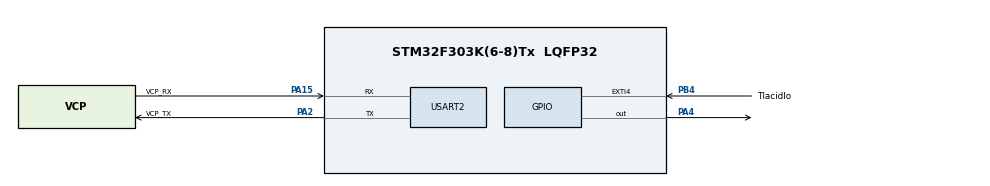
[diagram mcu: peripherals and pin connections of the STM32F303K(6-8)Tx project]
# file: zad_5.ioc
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Mcu.Family=STM32F3
Mcu.Name=STM32F303K(6-8)Tx
Mcu.Package=LQFP32
NVIC.EXTI4_IRQn=true\:0\:0\:false\:false\:true\:true\:true
NVIC.PriorityGroup=NVIC_PRIORITYGROUP_4
PA13.GPIO_Label=SWDIO
PA13.Mode=Serial_Wire
PA13.Signal=SYS_JTMS-SWDIO
PA14.GPIO_Label=SWCLK
PA14.Mode=Serial_Wire
PA14.Signal=SYS_JTCK-SWCLK
PA15.GPIO_Label=VCP_RX
PA15.Mode=Asynchronous
PA15.Signal=USART2_RX
PA2.GPIO_Label=VCP_TX
PA2.Mode=Asynchronous
PA2.Signal=USART2_TX
PA4.Signal=GPIO_Output
PB4.GPIO_Label=Tlacidlo
PB4.GPIO_ModeDefaultEXTI=GPIO_MODE_IT_RISING_FALLING
PB4.GPIO_PuPd=GPIO_PULLUP
PB4.Signal=GPXTI4
PF0\ /\ OSC_IN.GPIO_Label=MCO
PF0\ /\ OSC_IN.Mode=HSE-External-Clock-Source
PF0\ /\ OSC_IN.Signal=RCC_OSC_IN
ProjectManager.HeapSize=0x200
ProjectManager.StackSize=0x400
ProjectManager.TargetToolchain=STM32CubeIDE
RCC.AHBFreq_Value=8000000
RCC.APB1Freq_Value=8000000
RCC.APB2Freq_Value=8000000
RCC.CortexFreq_Value=8000000
RCC.HSE_VALUE=8000000
RCC.HSI_VALUE=8000000
RCC.SYSCLKFreq_VALUE=8000000
USART2.VirtualMode-Asynchronous=VM_ASYNC
board=NUCLEO-F303K8

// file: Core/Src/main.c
/* USER CODE BEGIN Header */
/**
  ******************************************************************************
  * @file           : main.c
  * @brief          : Main program body
  ******************************************************************************
  * @attention
  *
  * <h2><center>&copy; Copyright (c) 2021 STMicroelectronics.
  * All rights reserved.</center></h2>
  *
  * This software component is licensed by ST under BSD 3-Clause license,
  * the "License"; You may not use this file except in compliance with the
  * License. You may obtain a copy of the License at:
  *                        opensource.org/licenses/BSD-3-Clause
  *
  ******************************************************************************
  */
/* USER CODE END Header */
#include "main.h"
#include "usart.h"
#include "gpio.h"

void SystemClock_Config(void);

/* USER CODE BEGIN 0 */
uint8_t check_button_state(GPIO_TypeDef* PORT, uint8_t PIN, uint8_t edge, uint8_t samples_window, uint8_t samples_required);

uint8_t switch_state = 0;
/* USER CODE END 0 */

int main(void)
{

  /* MCU Configuration--------------------------------------------------------*/

  /* Reset of all peripherals, Initializes the Flash interface and the Systick. */

  LL_APB2_GRP1_EnableClock(LL_APB2_GRP1_PERIPH_SYSCFG);
  LL_APB1_GRP1_EnableClock(LL_APB1_GRP1_PERIPH_PWR);

  NVIC_SetPriorityGrouping(NVIC_PRIORITYGROUP_4);

  /* System interrupt init*/

  /* Configure the system clock */
  SystemClock_Config();

  /* Initialize all configured peripherals */
  MX_GPIO_Init();
  MX_USART2_UART_Init();

  /* Infinite loop */
  /* USER CODE BEGIN WHILE */
  while (1)
  {
	  if(switch_state)
	  	  {
		  	  LL_GPIO_TogglePin(GPIO_PORT_LED,GPIO_BSRR_BS_4);
		  	  //GPIOA->BSRR |= GPIO_BSRR_BS_4;
	  		  //for(uint16_t i=0; i<0xFF00; i++){}
	  		  //GPIOA->BRR |= GPIO_BRR_BR_4;
	  		  //for(uint16_t i=0; i<0xFF00; i++){}
	  	  }
	  	  else
	  	  {
	  		LL_GPIO_ResetOutputPin(GPIO_PORT_LED,GPIO_BRR_BR_4);
	  		  //GPIOA->BRR |= GPIO_BRR_BR_4;
	  	  }
  }
    /* USER CODE END WHILE */

}

void SystemClock_Config(void)
{
  LL_FLASH_SetLatency(LL_FLASH_LATENCY_0);
  while(LL_FLASH_GetLatency()!= LL_FLASH_LATENCY_0)
  {
  }
  LL_RCC_HSI_Enable();

   /* Wait till HSI is ready */
  while(LL_RCC_HSI_IsReady() != 1)
  {

  }
  LL_RCC_HSI_SetCalibTrimming(16);
  LL_RCC_SetAHBPrescaler(LL_RCC_SYSCLK_DIV_1);
  LL_RCC_SetAPB1Prescaler(LL_RCC_APB1_DIV_1);
  LL_RCC_SetAPB2Prescaler(LL_RCC_APB2_DIV_1);
  LL_RCC_SetSysClkSource(LL_RCC_SYS_CLKSOURCE_HSI);

   /* Wait till System clock is ready */
  while(LL_RCC_GetSysClkSource() != LL_RCC_SYS_CLKSOURCE_STATUS_HSI)
  {

  }
  LL_Init1msTick(8000000);
  LL_SetSystemCoreClock(8000000);
}

/* USER CODE BEGIN 4 */
uint8_t checkButtonState(GPIO_TypeDef* PORT, uint8_t PIN, uint8_t edge, uint8_t samples_window, uint8_t samples_required)
{
	  //type your code for "checkButtonState" implementation here:
	uint8_t button_state = 0, timeout = 0;

		while(button_state < samples_required && timeout < samples_window)
		{
			if(LL_GPIO_IsInputPinSet(PORT, PIN))
			//(!(PORT->IDR & ((!edge) << PIN))
			{
				button_state += 1;
			}
			else
			{
				button_state = 0;
			}

			timeout += 1;
			LL_mDelay(1);
		}

		if((button_state >= samples_required) && (timeout <= samples_window))
		{
			return 1;
		}
		else
		{
			return 0;
		}
}

void EXTI4_IRQHandler(void)
{
  /* USER CODE BEGIN EXTI4_IRQn 0 */
	if(checkButtonState(GPIO_PORT_BUTTON,
							GPIO_PIN_BUTTON,
							BUTTON_EXTI_TRIGGER,
							BUTTON_EXTI_SAMPLES_WINDOW,
							BUTTON_EXTI_SAMPLES_REQUIRED))
		{
			switch_state ^= 1;
		}
  /* USER CODE END EXTI4_IRQn 0 */

if (LL_EXTI_IsActiveFlag_0_31(LL_EXTI_LINE_4) != RESET)
  {
    LL_EXTI_ClearFlag_0_31(LL_EXTI_LINE_4);
    /* USER CODE BEGIN LL_EXTI_LINE_4 */

    /* USER CODE END LL_EXTI_LINE_4 */
  }
  /* USER CODE BEGIN EXTI4_IRQn 1 */

  /* USER CODE END EXTI4_IRQn 1 */
}
/* USER CODE END 4 */

void Error_Handler(void)
{
  __disable_irq();
  while (1)
  {
  }
}

/************************ (C) COPYRIGHT STMicroelectronics *****END OF FILE****/
